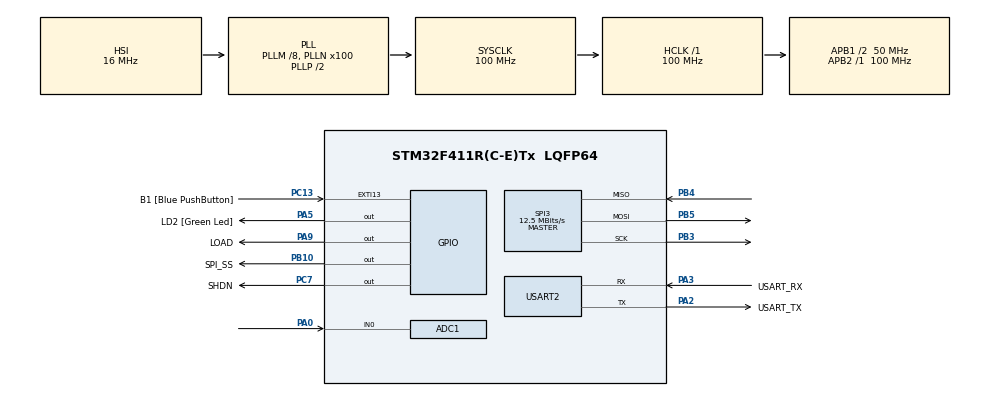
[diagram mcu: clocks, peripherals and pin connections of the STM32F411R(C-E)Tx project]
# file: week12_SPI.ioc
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ADC1.Channel-7\#ChannelRegularConversion=ADC_CHANNEL_0
ADC1.DMAContinuousRequests=ENABLE
ADC1.ExternalTrigConv=ADC_EXTERNALTRIGCONV_T3_TRGO
ADC1.NbrOfConversionFlag=1
ADC1.Rank-7\#ChannelRegularConversion=1
ADC1.SamplingTime-7\#ChannelRegularConversion=ADC_SAMPLETIME_3CYCLES
ADC1.ScanConvMode=ENABLE
ADC1.master=1
Dma.ADC1.0.Direction=DMA_PERIPH_TO_MEMORY
Dma.ADC1.0.FIFOMode=DMA_FIFOMODE_DISABLE
Dma.ADC1.0.Instance=DMA2_Stream0
Dma.ADC1.0.MemDataAlignment=DMA_MDATAALIGN_HALFWORD
Dma.ADC1.0.MemInc=DMA_MINC_ENABLE
Dma.ADC1.0.Mode=DMA_CIRCULAR
Dma.ADC1.0.PeriphDataAlignment=DMA_PDATAALIGN_HALFWORD
Dma.ADC1.0.PeriphInc=DMA_PINC_DISABLE
Dma.ADC1.0.Priority=DMA_PRIORITY_LOW
Dma.Request0=ADC1
Mcu.Family=STM32F4
Mcu.Name=STM32F411R(C-E)Tx
Mcu.Package=LQFP64
NVIC.DMA2_Stream0_IRQn=true\:0\:0\:false\:false\:true\:false\:true
NVIC.PriorityGroup=NVIC_PRIORITYGROUP_0
NVIC.SPI3_IRQn=true\:0\:0\:false\:false\:true\:true\:true
NVIC.USART2_IRQn=true\:0\:0\:false\:false\:true\:true\:true
PA0-WKUP.Signal=ADCx_IN0
PA13.GPIO_Label=TMS
PA13.Mode=Serial_Wire
PA13.Signal=SYS_JTMS-SWDIO
PA14.GPIO_Label=TCK
PA14.Mode=Serial_Wire
PA14.Signal=SYS_JTCK-SWCLK
PA2.GPIO_Label=USART_TX
PA2.Mode=Asynchronous
PA2.Signal=USART2_TX
PA3.GPIO_Label=USART_RX
PA3.Mode=Asynchronous
PA3.Signal=USART2_RX
PA5.GPIO_Label=LD2 [Green Led]
PA5.Signal=GPIO_Output
PA9.GPIO_Label=LOAD
PA9.PinState=GPIO_PIN_SET
PA9.Signal=GPIO_Output
PB10.GPIO_Label=SPI_SS
PB10.PinState=GPIO_PIN_SET
PB10.Signal=GPIO_Output
PB3.Mode=Full_Duplex_Master
PB3.Signal=SPI3_SCK
PB4.Mode=Full_Duplex_Master
PB4.Signal=SPI3_MISO
PB5.Mode=Full_Duplex_Master
PB5.Signal=SPI3_MOSI
PC13-ANTI_TAMP.GPIO_Label=B1 [Blue PushButton]
PC13-ANTI_TAMP.GPIO_ModeDefaultEXTI=GPIO_MODE_IT_FALLING
PC13-ANTI_TAMP.Signal=GPXTI13
PC14-OSC32_IN.Mode=LSE-External-Oscillator
PC14-OSC32_IN.Signal=RCC_OSC32_IN
PC15-OSC32_OUT.Mode=LSE-External-Oscillator
PC15-OSC32_OUT.Signal=RCC_OSC32_OUT
PC7.GPIO_Label=SHDN
PC7.PinState=GPIO_PIN_SET
PC7.Signal=GPIO_Output
PH0\ -\ OSC_IN.Mode=HSE-External-Clock-Source
PH0\ -\ OSC_IN.Signal=RCC_OSC_IN
PH1\ -\ OSC_OUT.Mode=HSE-External-Clock-Source
PH1\ -\ OSC_OUT.Signal=RCC_OSC_OUT
ProjectManager.HeapSize=0x200
ProjectManager.StackSize=0x400
ProjectManager.TargetToolchain=STM32CubeIDE
RCC.48MHZClocksFreq_Value=50000000
RCC.AHBFreq_Value=100000000
RCC.APB1CLKDivider=RCC_HCLK_DIV2
RCC.APB1Freq_Value=50000000
RCC.APB1TimFreq_Value=100000000
RCC.APB2Freq_Value=100000000
RCC.APB2TimFreq_Value=100000000
RCC.CortexFreq_Value=100000000
RCC.FLatency-AdvancedSettings=FLASH_LATENCY_3
RCC.HCLKFreq_Value=100000000
RCC.HSE_VALUE=8000000
RCC.HSI_VALUE=16000000
RCC.PLLM=8
RCC.PLLN=100
RCC.SYSCLKFreq_VALUE=100000000
RCC.SYSCLKSource=RCC_SYSCLKSOURCE_PLLCLK
RCC.VCOOutputFreq_Value=200000000
SH.ADCx_IN0.0=ADC1_IN0,IN0
SPI3.BaudRatePrescaler=SPI_BAUDRATEPRESCALER_4
SPI3.CalculateBaudRate=12.5 MBits/s
SPI3.DataSize=SPI_DATASIZE_16BIT
SPI3.Direction=SPI_DIRECTION_2LINES
SPI3.Mode=SPI_MODE_MASTER
SPI3.VirtualType=VM_MASTER
TIM11.Prescaler=99
TIM3.Period=100
TIM3.Prescaler=99
TIM3.TIM_MasterOutputTrigger=TIM_TRGO_UPDATE
USART2.VirtualMode=VM_ASYNC
VP_TIM11_VS_ClockSourceINT.Mode=Enable_Timer
VP_TIM3_VS_ClockSourceINT.Mode=Internal
board=NUCLEO-F411RE

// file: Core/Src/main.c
/* USER CODE BEGIN Header */
/**
 ******************************************************************************
 * @file           : main.c
 * @brief          : Main program body
 ******************************************************************************
 * @attention
 *
 * <h2><center>&copy; Copyright (c) 2021 STMicroelectronics.
 * All rights reserved.</center></h2>
 *
 * This software component is licensed by ST under BSD 3-Clause license,
 * the "License"; You may not use this file except in compliance with the
 * License. You may obtain a copy of the License at:
 *                        opensource.org/licenses/BSD-3-Clause
 *
 ******************************************************************************
 */
/* USER CODE END Header */
#include "main.h"

/* USER CODE BEGIN Includes */
#include "math.h"
#include "string.h"
#include "stdio.h"

/* USER CODE END Includes */

/* USER CODE BEGIN PD */
enum wave_form{
	sawtooth_mode,
	sine_mode,
	square_mode
};
enum uart_display_state{
	main_state,
	wave_config_state,
	frequency_config_state,
	voltage_config_state,
	duty_config_state,
	spacing,
	endd
};

/* USER CODE END PD */

ADC_HandleTypeDef hadc1;
DMA_HandleTypeDef hdma_adc1;

SPI_HandleTypeDef hspi3;

TIM_HandleTypeDef htim3;
TIM_HandleTypeDef htim11;

UART_HandleTypeDef huart2;

/* USER CODE BEGIN PV */
uint16_t ADCin = 0;
uint64_t _micro = 0;
uint16_t dataOut = 0,output = 0;
uint8_t DACConfig = 0b0011;
uint8_t mode = sawtooth_mode,saw_inverse = 1;

double frequency = 5,v_low = 1.5,v_high = 3,duty_cycle = 25;
char recieveRx[45] = "";
uint8_t state = main_state,toggle = 0;

/* USER CODE END PV */

void SystemClock_Config(void);
static void MX_GPIO_Init(void);
static void MX_DMA_Init(void);
static void MX_USART2_UART_Init(void);
static void MX_SPI3_Init(void);
static void MX_TIM3_Init(void);
static void MX_TIM11_Init(void);
static void MX_ADC1_Init(void);
/* USER CODE BEGIN PFP */
void MCP4922SetOutput(uint8_t Config, uint16_t DACOutput);
uint16_t clamp_output(uint16_t input);
uint64_t micros();
int16_t UARTRecieveIT();
void print(uint8_t input);
/* USER CODE END PFP */

int main(void)
{

  /* MCU Configuration--------------------------------------------------------*/

  /* Reset of all peripherals, Initializes the Flash interface and the Systick. */
  HAL_Init();

  /* Configure the system clock */
  SystemClock_Config();

  /* Initialize all configured peripherals */
  MX_GPIO_Init();
  MX_DMA_Init();
  MX_USART2_UART_Init();
  MX_SPI3_Init();
  MX_TIM3_Init();
  MX_TIM11_Init();
  MX_ADC1_Init();
  /* USER CODE BEGIN 2 */
	HAL_TIM_Base_Start(&htim3);
	HAL_TIM_Base_Start_IT(&htim11);
	HAL_ADC_Start_DMA(&hadc1, (uint32_t*) &ADCin, 1);

	HAL_GPIO_WritePin(LOAD_GPIO_Port, LOAD_Pin, GPIO_PIN_RESET);

	print(main_state);
  /* USER CODE END 2 */

  /* Infinite loop */
  /* USER CODE BEGIN WHILE */
	while (1)
	{
		HAL_UART_Receive_IT(&huart2, (uint8_t*) recieveRx, 32);
		int16_t inputchar = UARTRecieveIT();
		if(inputchar != -1){
			switch (state){
			case main_state:
				switch (inputchar){
				case 'a':state = wave_config_state;print(wave_config_state);break;
				case 's':state = frequency_config_state;print(frequency_config_state);break;
				case 'd':toggle = !toggle;print(main_state);break;
				case 'f':state = voltage_config_state;print(voltage_config_state);break;
				case 'g':switch(mode){case sawtooth_mode:saw_inverse = !saw_inverse;print(main_state);break;case square_mode:state = duty_config_state;print(duty_config_state);}break;
				}
			break;
			case wave_config_state:
				switch (inputchar){
				case 'a':mode = sawtooth_mode;print(wave_config_state);break;
				case 's':mode = sine_mode;print(wave_config_state);break;
				case 'd':mode = square_mode;print(wave_config_state);break;
				case 'x':state = main_state;print(main_state);break;
				}
			break;
			case frequency_config_state:
				switch (inputchar){
				case 'a':frequency += 0.1;print(frequency_config_state);break;
				case 's':frequency += 1;print(frequency_config_state);break;
				case 'd':if(frequency){frequency -= 0.1;}print(frequency_config_state);break;
				case 'f':if(frequency >= 1){frequency -=1;}print(frequency_config_state);break;
				case 'x':state = main_state;print(main_state);break;
				}
			break;
			case duty_config_state:
				switch (inputchar){
				case 'a':duty_cycle += 10;print(duty_config_state);break;
				case 's':duty_cycle += 1;print(duty_config_state);break;
				case 'd':if(duty_cycle >= 10){duty_cycle -= 10;}print(duty_config_state);break;
				case 'f':if(duty_cycle >= 1){duty_cycle -=1;}print(duty_config_state);break;
				case 'x':state = main_state;print(main_state);break;
				}
			break;
			case voltage_config_state:
				switch (inputchar){
				case 'a':if(v_low < 3.3 && v_low < v_high){v_low += 0.1;}print(voltage_config_state);break;
				case 's':if(v_low > 0){v_low -= 0.1;}print(voltage_config_state);break;
				case 'd':if(v_high < 3.3){v_high += 0.1;}print(voltage_config_state);break;
				case 'f':if(v_high > 0 && v_high > v_low){v_high -= 0.1;}print(voltage_config_state);break;
				case 'x':state = main_state;print(main_state);break;
				}
			break;
			}
		}

		//digital output mode
		static uint64_t timestamp = 0;
		if (micros() - timestamp > 5000 )
		{
			dataOut += 4096*(frequency*5000e-6);
			dataOut%=4096;
			timestamp = micros();
			switch (mode) {
				case sawtooth_mode:output = saw_inverse ? 4095-dataOut:dataOut;break;
				case sine_mode:output = sin(2*M_PI*((float)dataOut/4095))*(4095/2) + (4095/2);break;
				case square_mode:output = dataOut > 4095*(duty_cycle/100) ? 0:4095;break;
				default:break;
			}
			if (hspi3.State == HAL_SPI_STATE_READY
					&& HAL_GPIO_ReadPin(SPI_SS_GPIO_Port, SPI_SS_Pin)
							== GPIO_PIN_SET)
			{
				MCP4922SetOutput(DACConfig, toggle ? clamp_output(output) : 0);
			}
		}
    /* USER CODE END WHILE */

	}
}

void SystemClock_Config(void)
{
  RCC_OscInitTypeDef RCC_OscInitStruct = {0};
  RCC_ClkInitTypeDef RCC_ClkInitStruct = {0};

  /** Configure the main internal regulator output voltage
  */
  __HAL_RCC_PWR_CLK_ENABLE();
  __HAL_PWR_VOLTAGESCALING_CONFIG(PWR_REGULATOR_VOLTAGE_SCALE1);
  /** Initializes the RCC Oscillators according to the specified parameters
  * in the RCC_OscInitTypeDef structure.
  */
  RCC_OscInitStruct.OscillatorType = RCC_OSCILLATORTYPE_HSI;
  RCC_OscInitStruct.HSIState = RCC_HSI_ON;
  RCC_OscInitStruct.HSICalibrationValue = RCC_HSICALIBRATION_DEFAULT;
  RCC_OscInitStruct.PLL.PLLState = RCC_PLL_ON;
  RCC_OscInitStruct.PLL.PLLSource = RCC_PLLSOURCE_HSI;
  RCC_OscInitStruct.PLL.PLLM = 8;
  RCC_OscInitStruct.PLL.PLLN = 100;
  RCC_OscInitStruct.PLL.PLLP = RCC_PLLP_DIV2;
  RCC_OscInitStruct.PLL.PLLQ = 4;
  if (HAL_RCC_OscConfig(&RCC_OscInitStruct) != HAL_OK)
  {
    Error_Handler();
  }
  /** Initializes the CPU, AHB and APB buses clocks
  */
  RCC_ClkInitStruct.ClockType = RCC_CLOCKTYPE_HCLK|RCC_CLOCKTYPE_SYSCLK
                              |RCC_CLOCKTYPE_PCLK1|RCC_CLOCKTYPE_PCLK2;
  RCC_ClkInitStruct.SYSCLKSource = RCC_SYSCLKSOURCE_PLLCLK;
  RCC_ClkInitStruct.AHBCLKDivider = RCC_SYSCLK_DIV1;
  RCC_ClkInitStruct.APB1CLKDivider = RCC_HCLK_DIV2;
  RCC_ClkInitStruct.APB2CLKDivider = RCC_HCLK_DIV1;

  if (HAL_RCC_ClockConfig(&RCC_ClkInitStruct, FLASH_LATENCY_3) != HAL_OK)
  {
    Error_Handler();
  }
}

static void MX_ADC1_Init(void)
{

  ADC_ChannelConfTypeDef sConfig = {0};

  /** Configure the global features of the ADC (Clock, Resolution, Data Alignment and number of conversion)
  */
  hadc1.Instance = ADC1;
  hadc1.Init.ClockPrescaler = ADC_CLOCK_SYNC_PCLK_DIV4;
  hadc1.Init.Resolution = ADC_RESOLUTION_12B;
  hadc1.Init.ScanConvMode = ENABLE;
  hadc1.Init.ContinuousConvMode = DISABLE;
  hadc1.Init.DiscontinuousConvMode = DISABLE;
  hadc1.Init.ExternalTrigConvEdge = ADC_EXTERNALTRIGCONVEDGE_RISING;
  hadc1.Init.ExternalTrigConv = ADC_EXTERNALTRIGCONV_T3_TRGO;
  hadc1.Init.DataAlign = ADC_DATAALIGN_RIGHT;
  hadc1.Init.NbrOfConversion = 1;
  hadc1.Init.DMAContinuousRequests = ENABLE;
  hadc1.Init.EOCSelection = ADC_EOC_SINGLE_CONV;
  if (HAL_ADC_Init(&hadc1) != HAL_OK)
  {
    Error_Handler();
  }
  /** Configure for the selected ADC regular channel its corresponding rank in the sequencer and its sample time.
  */
  sConfig.Channel = ADC_CHANNEL_0;
  sConfig.Rank = 1;
  sConfig.SamplingTime = ADC_SAMPLETIME_3CYCLES;
  if (HAL_ADC_ConfigChannel(&hadc1, &sConfig) != HAL_OK)
  {
    Error_Handler();
  }

}

static void MX_SPI3_Init(void)
{

  /* SPI3 parameter configuration*/
  hspi3.Instance = SPI3;
  hspi3.Init.Mode = SPI_MODE_MASTER;
  hspi3.Init.Direction = SPI_DIRECTION_2LINES;
  hspi3.Init.DataSize = SPI_DATASIZE_16BIT;
  hspi3.Init.CLKPolarity = SPI_POLARITY_LOW;
  hspi3.Init.CLKPhase = SPI_PHASE_1EDGE;
  hspi3.Init.NSS = SPI_NSS_SOFT;
  hspi3.Init.BaudRatePrescaler = SPI_BAUDRATEPRESCALER_4;
  hspi3.Init.FirstBit = SPI_FIRSTBIT_MSB;
  hspi3.Init.TIMode = SPI_TIMODE_DISABLE;
  hspi3.Init.CRCCalculation = SPI_CRCCALCULATION_DISABLE;
  hspi3.Init.CRCPolynomial = 10;
  if (HAL_SPI_Init(&hspi3) != HAL_OK)
  {
    Error_Handler();
  }

}

static void MX_TIM3_Init(void)
{

  TIM_ClockConfigTypeDef sClockSourceConfig = {0};
  TIM_MasterConfigTypeDef sMasterConfig = {0};

  htim3.Instance = TIM3;
  htim3.Init.Prescaler = 99;
  htim3.Init.CounterMode = TIM_COUNTERMODE_UP;
  htim3.Init.Period = 100;
  htim3.Init.ClockDivision = TIM_CLOCKDIVISION_DIV1;
  htim3.Init.AutoReloadPreload = TIM_AUTORELOAD_PRELOAD_DISABLE;
  if (HAL_TIM_Base_Init(&htim3) != HAL_OK)
  {
    Error_Handler();
  }
  sClockSourceConfig.ClockSource = TIM_CLOCKSOURCE_INTERNAL;
  if (HAL_TIM_ConfigClockSource(&htim3, &sClockSourceConfig) != HAL_OK)
  {
    Error_Handler();
  }
  sMasterConfig.MasterOutputTrigger = TIM_TRGO_UPDATE;
  sMasterConfig.MasterSlaveMode = TIM_MASTERSLAVEMODE_DISABLE;
  if (HAL_TIMEx_MasterConfigSynchronization(&htim3, &sMasterConfig) != HAL_OK)
  {
    Error_Handler();
  }

}

static void MX_TIM11_Init(void)
{

  htim11.Instance = TIM11;
  htim11.Init.Prescaler = 99;
  htim11.Init.CounterMode = TIM_COUNTERMODE_UP;
  htim11.Init.Period = 65535;
  htim11.Init.ClockDivision = TIM_CLOCKDIVISION_DIV1;
  htim11.Init.AutoReloadPreload = TIM_AUTORELOAD_PRELOAD_DISABLE;
  if (HAL_TIM_Base_Init(&htim11) != HAL_OK)
  {
    Error_Handler();
  }

}

static void MX_USART2_UART_Init(void)
{

  huart2.Instance = USART2;
  huart2.Init.BaudRate = 115200;
  huart2.Init.WordLength = UART_WORDLENGTH_8B;
  huart2.Init.StopBits = UART_STOPBITS_1;
  huart2.Init.Parity = UART_PARITY_NONE;
  huart2.Init.Mode = UART_MODE_TX_RX;
  huart2.Init.HwFlowCtl = UART_HWCONTROL_NONE;
  huart2.Init.OverSampling = UART_OVERSAMPLING_16;
  if (HAL_UART_Init(&huart2) != HAL_OK)
  {
    Error_Handler();
  }

}

static void MX_DMA_Init(void)
{

  /* DMA controller clock enable */
  __HAL_RCC_DMA2_CLK_ENABLE();

  /* DMA interrupt init */
  /* DMA2_Stream0_IRQn interrupt configuration */
  HAL_NVIC_SetPriority(DMA2_Stream0_IRQn, 0, 0);
  HAL_NVIC_EnableIRQ(DMA2_Stream0_IRQn);

}

static void MX_GPIO_Init(void)
{
  GPIO_InitTypeDef GPIO_InitStruct = {0};

  /* GPIO Ports Clock Enable */
  __HAL_RCC_GPIOC_CLK_ENABLE();
  __HAL_RCC_GPIOH_CLK_ENABLE();
  __HAL_RCC_GPIOA_CLK_ENABLE();
  __HAL_RCC_GPIOB_CLK_ENABLE();

  /*Configure GPIO pin Output Level */
  HAL_GPIO_WritePin(LD2_GPIO_Port, LD2_Pin, GPIO_PIN_RESET);

  /*Configure GPIO pin Output Level */
  HAL_GPIO_WritePin(SPI_SS_GPIO_Port, SPI_SS_Pin, GPIO_PIN_SET);

  /*Configure GPIO pin Output Level */
  HAL_GPIO_WritePin(SHDN_GPIO_Port, SHDN_Pin, GPIO_PIN_SET);

  /*Configure GPIO pin Output Level */
  HAL_GPIO_WritePin(LOAD_GPIO_Port, LOAD_Pin, GPIO_PIN_SET);

  /*Configure GPIO pin : B1_Pin */
  GPIO_InitStruct.Pin = B1_Pin;
  GPIO_InitStruct.Mode = GPIO_MODE_IT_FALLING;
  GPIO_InitStruct.Pull = GPIO_NOPULL;
  HAL_GPIO_Init(B1_GPIO_Port, &GPIO_InitStruct);

  /*Configure GPIO pins : LD2_Pin LOAD_Pin */
  GPIO_InitStruct.Pin = LD2_Pin|LOAD_Pin;
  GPIO_InitStruct.Mode = GPIO_MODE_OUTPUT_PP;
  GPIO_InitStruct.Pull = GPIO_NOPULL;
  GPIO_InitStruct.Speed = GPIO_SPEED_FREQ_LOW;
  HAL_GPIO_Init(GPIOA, &GPIO_InitStruct);

  /*Configure GPIO pin : SPI_SS_Pin */
  GPIO_InitStruct.Pin = SPI_SS_Pin;
  GPIO_InitStruct.Mode = GPIO_MODE_OUTPUT_PP;
  GPIO_InitStruct.Pull = GPIO_NOPULL;
  GPIO_InitStruct.Speed = GPIO_SPEED_FREQ_LOW;
  HAL_GPIO_Init(SPI_SS_GPIO_Port, &GPIO_InitStruct);

  /*Configure GPIO pin : SHDN_Pin */
  GPIO_InitStruct.Pin = SHDN_Pin;
  GPIO_InitStruct.Mode = GPIO_MODE_OUTPUT_PP;
  GPIO_InitStruct.Pull = GPIO_NOPULL;
  GPIO_InitStruct.Speed = GPIO_SPEED_FREQ_LOW;
  HAL_GPIO_Init(SHDN_GPIO_Port, &GPIO_InitStruct);

}

/* USER CODE BEGIN 4 */
void MCP4922SetOutput(uint8_t Config, uint16_t DACOutput)
{
	uint32_t OutputPacket = (DACOutput & 0x0fff) | ((Config & 0xf) << 12);
	HAL_GPIO_WritePin(SPI_SS_GPIO_Port, SPI_SS_Pin, GPIO_PIN_RESET);
	HAL_SPI_Transmit_IT(&hspi3, &OutputPacket, 1);
}

void HAL_SPI_TxCpltCallback(SPI_HandleTypeDef *hspi)
{
	if (hspi == &hspi3)
	{
		HAL_GPIO_WritePin(SPI_SS_GPIO_Port, SPI_SS_Pin, GPIO_PIN_SET);
	}
}

void HAL_TIM_PeriodElapsedCallback(TIM_HandleTypeDef *htim)
{
	if (htim == &htim11)
	{
		_micro += 65535;
	}
}

uint16_t clamp_output(uint16_t input){
	double_t low = v_low/3.3*4095,high = v_high/3.3*4095;
	return (uint16_t)((high-low)*((double)input/4095) + low);

}

int16_t UARTRecieveIT(){

	static uint32_t dataPos = 0;

	int16_t data = -1;

	if(huart2.RxXferSize - huart2.RxXferCount != dataPos){

		data = recieveRx[dataPos];

		dataPos = (dataPos+1)%huart2.RxXferSize;

	}
	return data;
}

void print(uint8_t input){

	char temp[300] = "";
	switch(mode){
	case sawtooth_mode:sprintf(temp,"\r\n\r\n\r\n\r\n\r\n\r\n\r\n\r\n\r\n\r\n==============\r\nmode:sawtooth frequency:%d.%d toggle:%s inverse:%s v_low:%d.%d v_high:%d.%d\r\n",(uint8_t)frequency,(uint8_t)(frequency*10)%10,toggle ? "ON":"OFF",saw_inverse ? "ON":"OFF",(uint8_t)v_low,(uint8_t)(v_low*10)%10,(uint8_t)v_high,(uint8_t)(v_high*10)%10);break;
	case sine_mode:sprintf(temp,"\r\n\r\n\r\n\r\n\r\n\r\n\r\n\r\n\r\n\r\n==============\r\nmode:sine frequency:%d.%d toggle:%s v_low:%d.%d v_high:%d.%d\r\n",(uint8_t)frequency,(uint8_t)(frequency*10)%10,toggle ? "ON":"OFF",(uint8_t)v_low,(uint8_t)(v_low*10)%10,(uint8_t)v_high,(uint8_t)(v_high*10)%10);break;
	case square_mode:sprintf(temp,"\r\n\r\n\r\n\r\n\r\n\r\n\r\n\r\n\r\n\r\n==============\r\nmode:square frequency:%d.%d toggle:%s duty cycle:%d v_low:%d.%d v_high:%d.%d\r\n",(uint8_t)frequency,(uint8_t)(frequency*10)%10,toggle ? "ON":"OFF",(uint8_t)duty_cycle,(uint8_t)v_low,(uint8_t)(v_low*10)%10,(uint8_t)v_high,(uint8_t)(v_high*10)%10);break;
	}

	switch(input){
	case main_state:strcat(temp,"a:wave config\r\ns:frequency config\r\nd:toggle\r\nf:voltage config\r\n");
					if(mode == sawtooth_mode){strcat(temp,"g:inverse\r\n");}
					if(mode == square_mode){strcat(temp,"g:duty config\r\n");}break;
	case wave_config_state:strcat(temp,"a:sawtooth wave\r\ns:sine wave\r\nd:squere wave\r\nx:back\r\n");break;
	case frequency_config_state:strcat(temp,"a:+0.1 Hz\r\ns:+1 Hz\r\nd:-0.1 Hz\r\nf:-1 Hz\r\nx:back\r\n");break;
	case duty_config_state:strcat(temp,"a:+10%\r\ns:+1%\r\nd:-10%\r\nf:-1%\r\nx:back\r\n");break;
	case voltage_config_state:strcat(temp,"a:v_low +1\r\ns:v_low -1\r\nd:v_high +1\r\nf:v_high -1\r\nx:back\r\n");break;
	}
	strcat(temp,"==============\r\n");

	HAL_UART_Transmit(&huart2,(uint8_t*) temp, strlen(temp), 1000);
}

inline uint64_t micros()
{
	return htim11.Instance->CNT + _micro;
}
/* USER CODE END 4 */

void Error_Handler(void)
{
	__disable_irq();
	while (1)
	{
	}
}

/************************ (C) COPYRIGHT STMicroelectronics *****END OF FILE****/
